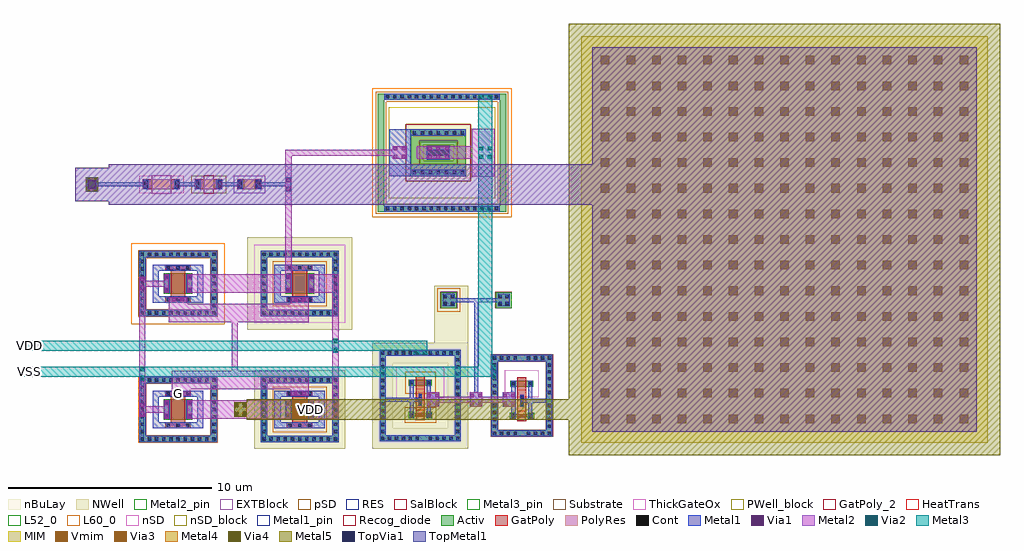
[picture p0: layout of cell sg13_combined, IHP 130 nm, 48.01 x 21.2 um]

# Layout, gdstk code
from math import pi, radians
import gdstk
lib = gdstk.Library(unit=1e-6, precision=1e-09)
def R(c, l, rs):  # rectangles x0, y0, x1, y1
    for r in rs: c.add(gdstk.rectangle(r[:2], r[2:], *l))
def A(c, l, x, y, w, h, nx, ny, dx, dy):  # array of equal rectangles
    R(c, l, [(x+i*dx, y+j*dy, x+i*dx+w, y+j*dy+h) for i in range(nx) for j in range(ny)])
def P(c, l, *ps):  # polygons
    for p in ps: c.add(gdstk.Polygon(p, *l))
Activ = (1, 0)
GatPoly = (5, 0)
GatPoly_2 = (5, 2)
Cont = (6, 0)
nSD = (7, 0)
nSD_block = (7, 21)
Metal1 = (8, 0)
Metal1_pin = (8, 2)
Metal2 = (10, 0)
Metal2_pin = (10, 2)
pSD = (14, 0)
Via1 = (19, 0)
RES = (24, 0)
SalBlock = (28, 0)
Via2 = (29, 0)
Metal3 = (30, 0)
Metal3_pin = (30, 2)
NWell = (31, 0)
nBuLay = (32, 0)
MIM = (36, 0)
Substrate = (40, 0)
ThickGateOx = (44, 0)
PWell_block = (46, 21)
Via3 = (49, 0)
Metal4 = (50, 0)
HeatTrans = (51, 0)
L52_0 = (52, 0)
L60_0 = (60, 0)
Via4 = (66, 0)
Metal5 = (67, 0)
Recog_diode = (99, 31)
EXTBlock = (111, 0)
TopVia1 = (125, 0)
TopMetal1 = (126, 0)
PolyRes = (128, 0)
Vmim = (129, 0)

rfnmos = lib.new_cell('rfnmos')
R(rfnmos, Activ, [(1.14,1.245,2.14,2.655)])
P(rfnmos, Activ, [(0.03,0.03),(0.03,3.55),(0.35,3.55),(0.35,0.35),(2.93,0.35),(2.93,3.55),(0.03,3.55),(0.03,3.87),(3.25,3.87),(3.25,0.03)])
R(rfnmos, GatPoly, [(0.71,1.32,1.01,2.58), (2.27,1.32,2.57,2.58), (1.01,1.59,2.27,2.31)])
A(rfnmos, Cont, 0.11, 0.11, 0.16, 0.16, 1, 3, 0, 0.35)
A(rfnmos, Cont, 3.01, 0.11, 0.16, 0.16, 1, 3, 0, 0.35)
A(rfnmos, Cont, 0.78, 1.39, 0.16, 0.16, 1, 3, 0, 0.48)
A(rfnmos, Cont, 2.34, 1.39, 0.16, 0.16, 1, 3, 0, 0.48)
R(rfnmos, Cont, [(0.47,0.11,0.63,0.27), (0.835,0.11,0.995,0.27), (1.195,0.11,1.355,0.27), (1.56,0.11,1.72,0.27), (1.92,0.11,2.08,0.27), (2.285,0.11,2.445,0.27), (2.645,0.11,2.805,0.27), (0.11,1.165,0.27,1.325), (3.01,1.165,3.17,1.325), (1.24,1.32,1.4,1.48), (1.88,1.32,2.04,1.48), (0.11,1.515,0.27,1.675), (3.01,1.515,3.17,1.675), (0.11,1.87,0.27,2.03), (3.01,1.87,3.17,2.03), (0.11,2.22,0.27,2.38), (3.01,2.22,3.17,2.38), (1.24,2.42,1.4,2.58), (1.88,2.42,2.04,2.58), (0.11,2.575,0.27,2.735), (3.01,2.575,3.17,2.735), (0.11,2.925,0.27,3.085), (3.01,2.925,3.17,3.085), (0.11,3.28,0.27,3.44), (3.01,3.28,3.17,3.44), (0.11,3.63,0.27,3.79), (0.47,3.63,0.63,3.79), (0.835,3.63,0.995,3.79), (1.195,3.63,1.355,3.79), (1.56,3.63,1.72,3.79), (1.92,3.63,2.08,3.79), (2.285,3.63,2.445,3.79), (2.645,3.63,2.805,3.79), (3.01,3.63,3.17,3.79)])
R(rfnmos, Metal1, [(0.03,0.03,3.25,0.35), (0.03,0.35,0.35,3.55), (2.93,0.35,3.25,3.55), (1.19,1.26,2.09,1.54), (0.76,1.34,0.96,2.56), (2.32,1.34,2.52,2.56), (1.19,2.36,2.09,2.64), (0.03,3.55,3.25,3.87)])
P(rfnmos, Metal1, [(0.71,0.71),(0.71,2.89),(1.01,2.89),(1.01,1.01),(2.27,1.01),(2.27,2.89),(0.71,2.89),(0.71,3.19),(2.57,3.19),(2.57,0.71)])
R(rfnmos, Metal1_pin, [(0.03,0.11,3.25,0.27), (0.03,0.11,3.25,0.27), (1.19,1.26,2.09,1.54), (1.19,1.26,2.09,1.54), (0.76,1.34,0.96,2.56), (0.76,1.34,0.96,2.56), (1.19,2.36,2.09,2.64), (1.19,2.36,2.09,2.64)])
R(rfnmos, Metal2, [(1.19,1.3,2.09,1.5), (1.19,2.4,2.09,2.6)])
P(rfnmos, pSD, [(0,0),(0,3.52),(0.38,3.52),(0.38,0.38),(2.9,0.38),(2.9,3.52),(0,3.52),(0,3.9),(3.28,3.9),(3.28,0)])
R(rfnmos, Via1, [(1.24,1.305,1.43,1.495), (1.85,1.305,2.04,1.495), (1.24,2.405,1.43,2.595), (1.85,2.405,2.04,2.595)])
rfnmos.add(gdstk.Label('S', (1.64,1.418), layer=63, texttype=0))
rfnmos.add(gdstk.Label('D', (1.64,2.518), layer=63, texttype=0))
rfnmos.add(gdstk.Label('G', (0.86,1.95), layer=63, texttype=0))
rfnmos.add(gdstk.Label('TIE', (1.64,0.19), layer=63, texttype=0))
rfnmos.add(gdstk.Label('rfnmos', (1.64,3.71), layer=63, texttype=0))

rfpmos = lib.new_cell('rfpmos')
R(rfpmos, Activ, [(1.42,1.525,2.42,2.935)])
P(rfpmos, Activ, [(0.31,0.31),(0.31,3.83),(0.63,3.83),(0.63,0.63),(3.21,0.63),(3.21,3.83),(0.31,3.83),(0.31,4.15),(3.53,4.15),(3.53,0.31)])
R(rfpmos, GatPoly, [(0.99,1.6,1.29,2.86), (2.55,1.6,2.85,2.86), (1.29,1.87,2.55,2.59)])
A(rfpmos, Cont, 0.39, 0.39, 0.16, 0.16, 1, 3, 0, 0.35)
A(rfpmos, Cont, 3.29, 0.39, 0.16, 0.16, 1, 3, 0, 0.35)
A(rfpmos, Cont, 1.06, 1.67, 0.16, 0.16, 1, 3, 0, 0.48)
A(rfpmos, Cont, 2.62, 1.67, 0.16, 0.16, 1, 3, 0, 0.48)
R(rfpmos, Cont, [(0.75,0.39,0.91,0.55), (1.115,0.39,1.275,0.55), (1.475,0.39,1.635,0.55), (1.84,0.39,2,0.55), (2.2,0.39,2.36,0.55), (2.565,0.39,2.725,0.55), (2.925,0.39,3.085,0.55), (0.39,1.445,0.55,1.605), (3.29,1.445,3.45,1.605), (1.52,1.6,1.68,1.76), (2.16,1.6,2.32,1.76), (0.39,1.795,0.55,1.955), (3.29,1.795,3.45,1.955), (0.39,2.15,0.55,2.31), (3.29,2.15,3.45,2.31), (0.39,2.5,0.55,2.66), (3.29,2.5,3.45,2.66), (1.52,2.7,1.68,2.86), (2.16,2.7,2.32,2.86), (0.39,2.855,0.55,3.015), (3.29,2.855,3.45,3.015), (0.39,3.205,0.55,3.365), (3.29,3.205,3.45,3.365), (0.39,3.56,0.55,3.72), (3.29,3.56,3.45,3.72), (0.39,3.91,0.55,4.07), (0.75,3.91,0.91,4.07), (1.115,3.91,1.275,4.07), (1.475,3.91,1.635,4.07), (1.84,3.91,2,4.07), (2.2,3.91,2.36,4.07), (2.565,3.91,2.725,4.07), (2.925,3.91,3.085,4.07), (3.29,3.91,3.45,4.07)])
R(rfpmos, Metal1, [(0.31,0.31,3.53,0.63), (0.31,0.63,0.63,3.83), (3.21,0.63,3.53,3.83), (1.47,1.54,2.37,1.82), (1.04,1.62,1.24,2.84), (2.6,1.62,2.8,2.84), (1.47,2.64,2.37,2.92), (0.31,3.83,3.53,4.15)])
P(rfpmos, Metal1, [(0.99,0.99),(0.99,3.17),(1.29,3.17),(1.29,1.29),(2.55,1.29),(2.55,3.17),(0.99,3.17),(0.99,3.47),(2.85,3.47),(2.85,0.99)])
R(rfpmos, Metal1_pin, [(0.31,0.39,3.53,0.55), (0.31,0.39,3.53,0.55), (1.47,1.54,2.37,1.82), (1.47,1.54,2.37,1.82), (1.04,1.62,1.24,2.84), (1.04,1.62,1.24,2.84), (1.47,2.64,2.37,2.92), (1.47,2.64,2.37,2.92)])
R(rfpmos, Metal2, [(1.47,1.58,2.37,1.78), (1.47,2.68,2.37,2.88)])
R(rfpmos, pSD, [(0.81,0.91,3.03,3.55)])
R(rfpmos, Via1, [(1.52,1.585,1.71,1.775), (2.13,1.585,2.32,1.775), (1.52,2.685,1.71,2.875), (2.13,2.685,2.32,2.875)])
R(rfpmos, NWell, [(0,0,3.84,4.46)])
rfpmos.add(gdstk.Label('S', (1.92,1.697), layer=63, texttype=0))
rfpmos.add(gdstk.Label('D', (1.92,2.798), layer=63, texttype=0))
rfpmos.add(gdstk.Label('G', (1.14,2.23), layer=63, texttype=0))
rfpmos.add(gdstk.Label('TIE', (1.92,0.47), layer=63, texttype=0))
rfpmos.add(gdstk.Label('rfpmos', (1.92,3.99), layer=63, texttype=0))

via_stack = lib.new_cell('via_stack')
R(via_stack, Metal2, [(-0.35,-0.305,0.35,0.305)])
R(via_stack, Via2, [(-0.3,-0.3,-0.11,-0.11), (0.11,-0.3,0.3,-0.11), (-0.3,0.11,-0.11,0.3), (0.11,0.11,0.3,0.3)])
R(via_stack, Metal3, [(-0.35,-0.305,0.35,0.305)])
R(via_stack, Via3, [(-0.3,-0.3,-0.11,-0.11), (0.11,-0.3,0.3,-0.11), (-0.3,0.11,-0.11,0.3), (0.11,0.11,0.3,0.3)])
R(via_stack, Metal4, [(-0.35,-0.305,0.35,0.305)])
R(via_stack, Via4, [(-0.3,-0.3,-0.11,-0.11), (0.11,-0.3,0.3,-0.11), (-0.3,0.11,-0.11,0.3), (0.11,0.11,0.3,0.3)])
R(via_stack, Metal5, [(-0.35,-0.305,0.35,0.305)])

via_stack_3 = lib.new_cell('via_stack$3')
R(via_stack_3, Metal1, [(-0.105,-0.35,0.105,0.35)])
R(via_stack_3, Metal2, [(-0.1,-0.35,0.1,0.35)])
R(via_stack_3, Via1, [(-0.095,-0.3,0.095,-0.11), (-0.095,0.11,0.095,0.3)])

rsil = lib.new_cell('rsil')
R(rsil, GatPoly, [(0,-0.35,0.5,0), (0,0.5,0.5,0.85)])
R(rsil, Cont, [(0.07,-0.28,0.43,-0.12), (0.07,0.62,0.43,0.78)])
R(rsil, Metal1, [(0.02,-0.33,0.48,-0.07), (0.02,0.57,0.48,0.83)])
R(rsil, Metal1_pin, [(0.02,-0.33,0.48,-0.07), (0.02,0.57,0.48,0.83)])
R(rsil, RES, [(0,0,0.5,0.5)])
R(rsil, L52_0, [(0,0,0.5,0.5)])
R(rsil, EXTBlock, [(-0.18,-0.53,0.68,0), (-0.18,0,0.68,0.5), (-0.18,0,0.68,1.03)])
R(rsil, PolyRes, [(0,0,0.5,0.5)])
rsil.add(gdstk.Label('rsil r=24.9', (0.25,0.25), layer=63, texttype=0))
rsil.add(gdstk.Label('rsil', (0.25,0.25), layer=52, texttype=0))

nmos = lib.new_cell('nmos')
R(nmos, Activ, [(0,0,0.3,0.3), (0.89,0,1.19,0.3), (0,0.075,1.19,0.225)])
R(nmos, GatPoly, [(0.37,-0.105,0.82,0.405)])
R(nmos, GatPoly_2, [(0.37,-0.105,0.82,0.405)])
R(nmos, Cont, [(0.07,0.07,0.23,0.23), (0.96,0.07,1.12,0.23)])
R(nmos, Metal1, [(0.07,0.02,0.23,0.28), (0.96,0.02,1.12,0.28)])
R(nmos, Metal1_pin, [(0.07,0.02,0.23,0.28), (0.96,0.02,1.12,0.28)])
R(nmos, HeatTrans, [(0.37,-0.105,0.82,0.405)])
nmos.add(gdstk.Label('nmos', (0.595,0.15), layer=63, texttype=0))
nmos.add(gdstk.Label('nmos', (0.595,0.15), layer=51, texttype=0))

nmoshv = lib.new_cell('nmosHV')
R(nmoshv, Activ, [(0,0,0.3,0.3), (0,0,1.13,0.3), (0.83,0,1.13,0.3)])
R(nmoshv, GatPoly, [(0.34,-0.18,0.79,0.48)])
R(nmoshv, GatPoly_2, [(0.34,-0.18,0.79,0.48)])
R(nmoshv, Cont, [(0.07,0.07,0.23,0.23), (0.9,0.07,1.06,0.23)])
R(nmoshv, Metal1, [(0.07,0,0.23,0.3), (0.9,0,1.06,0.3)])
R(nmoshv, Metal1_pin, [(0.07,0,0.23,0.3), (0.9,0,1.06,0.3)])
R(nmoshv, ThickGateOx, [(-0.27,-0.52,1.4,0.82)])
R(nmoshv, HeatTrans, [(0.34,-0.18,0.79,0.48)])
nmoshv.add(gdstk.Label('nmosHV', (0.565,0.15), layer=63, texttype=0))
nmoshv.add(gdstk.Label('nmosHV', (0.565,0.15), layer=51, texttype=0))

pmos = lib.new_cell('pmos')
R(pmos, Activ, [(0,0,0.3,0.3), (0.89,0,1.19,0.3), (0,0.075,1.19,0.225)])
R(pmos, GatPoly, [(0.37,-0.105,0.82,0.405), (0.37,-0.105,0.82,0.405)])
R(pmos, Cont, [(0.07,0.07,0.23,0.23), (0.96,0.07,1.12,0.23)])
R(pmos, Metal1, [(0.07,0.02,0.23,0.28), (0.07,0.02,0.23,0.28), (0.96,0.02,1.12,0.28), (0.96,0.02,1.12,0.28)])
R(pmos, pSD, [(-0.18,-0.225,1.37,0.525)])
R(pmos, NWell, [(-0.31,-0.31,1.5,0.61)])
R(pmos, Substrate, [(0.89,0,1.19,0.3)])
R(pmos, HeatTrans, [(0.37,-0.105,0.82,0.405)])
pmos.add(gdstk.Label('pmos', (0.595,0.15), layer=63, texttype=0))
pmos.add(gdstk.Label('pmos', (0.595,0.15), layer=51, texttype=0))

guard_ring = lib.new_cell('guard_ring')
R(guard_ring, Activ, [(-2,-1.2,-1.7,1.2), (1.7,-1.2,2,1.2), (-2,1.2,2,1.5)])
P(guard_ring, Activ, [(-2,-1.5),(-2,1.2),(-1.7,1.2),(-1.7,-1.2),(1.7,-1.2),(1.7,1.2),(-2,1.2),(-2,1.5),(2,1.5),(2,-1.5)])
A(guard_ring, Cont, -1.93, -1.43, 0.16, 0.16, 5, 2, 0.34, 2.7)
A(guard_ring, Cont, 0.07, -1.43, 0.16, 0.16, 6, 2, 0.34, 2.7)
A(guard_ring, Cont, -1.93, -1.09, 0.16, 0.16, 1, 3, 0, 0.34)
A(guard_ring, Cont, 1.77, -1.09, 0.16, 0.16, 1, 3, 0, 0.34)
A(guard_ring, Cont, -1.93, 0.25, 0.16, 0.16, 1, 3, 0, 0.34)
A(guard_ring, Cont, 1.77, 0.25, 0.16, 0.16, 1, 3, 0, 0.34)
R(guard_ring, Metal1, [(-2,-1.5,2,-1.2), (-2,-1.2,-1.7,1.2), (1.7,-1.2,2,1.2), (-2,1.2,2,1.5)])
R(guard_ring, pSD, [(-2.03,-1.17,-1.67,1.17), (1.67,-1.17,2.03,1.17), (-2.03,1.17,2.03,1.53)])
P(guard_ring, pSD, [(-2.03,-1.53),(-2.03,1.17),(-1.67,1.17),(-1.67,-1.17),(1.67,-1.17),(1.67,1.17),(-2.03,1.17),(-2.03,1.53),(2.03,1.53),(2.03,-1.53)])
R(guard_ring, Substrate, [(-2.03,-1.17,-1.67,1.17), (1.67,-1.17,2.03,1.17), (-2.03,1.17,2.03,1.53)])
P(guard_ring, Substrate, [(-2.03,-1.53),(-2.03,1.17),(-1.67,1.17),(-1.67,-1.17),(1.67,-1.17),(1.67,1.17),(-2.03,1.17),(-2.03,1.53),(2.03,1.53),(2.03,-1.53)])
guard_ring.add(gdstk.Label('sub!', (0,-1.35), layer=63, texttype=0))

guard_ring_2 = lib.new_cell('guard_ring$2')
R(guard_ring_2, Activ, [(-2.25,-1.7,-1.95,1.7), (1.95,-1.7,2.25,1.7), (-2.25,1.7,2.25,2)])
P(guard_ring_2, Activ, [(-2.25,-2),(-2.25,1.7),(-1.95,1.7),(-1.95,-1.7),(1.95,-1.7),(1.95,1.7),(-2.25,1.7),(-2.25,2),(2.25,2),(2.25,-2)])
A(guard_ring_2, Cont, -2.18, -1.93, 0.16, 0.16, 6, 2, 0.34, 3.7)
A(guard_ring_2, Cont, -0.02, -1.93, 0.16, 0.16, 7, 2, 0.34, 3.7)
A(guard_ring_2, Cont, -2.18, -1.59, 0.16, 0.16, 1, 4, 0, 0.34)
A(guard_ring_2, Cont, 2.02, -1.59, 0.16, 0.16, 1, 4, 0, 0.34)
A(guard_ring_2, Cont, -2.18, 0.07, 0.16, 0.16, 1, 5, 0, 0.34)
A(guard_ring_2, Cont, 2.02, 0.07, 0.16, 0.16, 1, 5, 0, 0.34)
R(guard_ring_2, Metal1, [(-2.25,-2,2.25,-1.7), (-2.25,-1.7,-1.95,1.7), (1.95,-1.7,2.25,1.7), (-2.25,1.7,2.25,2)])
R(guard_ring_2, NWell, [(-2.6,-2.35,2.6,2.35)])
R(guard_ring_2, nBuLay, [(-2.6,-1.35,-1.6,1.35), (1.6,-1.35,2.6,1.35), (-2.6,1.35,2.6,2.35)])
P(guard_ring_2, nBuLay, [(-2.6,-2.35),(-2.6,1.35),(-1.6,1.35),(-1.6,-1.35),(1.6,-1.35),(1.6,1.35),(-2.6,1.35),(-2.6,2.35),(2.6,2.35),(2.6,-2.35)])
guard_ring_2.add(gdstk.Label('well', (0,-1.85), layer=63, texttype=0))

rfpmoshv = lib.new_cell('rfpmosHV')
R(rfpmoshv, Activ, [(1.77,1.875,2.77,3.285)])
P(rfpmoshv, Activ, [(0.66,0.66),(0.66,4.18),(0.98,4.18),(0.98,0.98),(3.56,0.98),(3.56,4.18),(0.66,4.18),(0.66,4.5),(3.88,4.5),(3.88,0.66)])
R(rfpmoshv, GatPoly, [(1.34,1.95,1.64,3.21), (2.9,1.95,3.2,3.21), (1.64,2.22,2.9,2.94)])
A(rfpmoshv, Cont, 0.74, 0.74, 0.16, 0.16, 1, 3, 0, 0.35)
A(rfpmoshv, Cont, 3.64, 0.74, 0.16, 0.16, 1, 3, 0, 0.35)
A(rfpmoshv, Cont, 1.41, 2.02, 0.16, 0.16, 1, 3, 0, 0.48)
A(rfpmoshv, Cont, 2.97, 2.02, 0.16, 0.16, 1, 3, 0, 0.48)
R(rfpmoshv, Cont, [(1.1,0.74,1.26,0.9), (1.465,0.74,1.625,0.9), (1.825,0.74,1.985,0.9), (2.19,0.74,2.35,0.9), (2.55,0.74,2.71,0.9), (2.915,0.74,3.075,0.9), (3.275,0.74,3.435,0.9), (0.74,1.795,0.9,1.955), (3.64,1.795,3.8,1.955), (1.87,1.95,2.03,2.11), (2.51,1.95,2.67,2.11), (0.74,2.145,0.9,2.305), (3.64,2.145,3.8,2.305), (0.74,2.5,0.9,2.66), (3.64,2.5,3.8,2.66), (0.74,2.85,0.9,3.01), (3.64,2.85,3.8,3.01), (1.87,3.05,2.03,3.21), (2.51,3.05,2.67,3.21), (0.74,3.205,0.9,3.365), (3.64,3.205,3.8,3.365), (0.74,3.555,0.9,3.715), (3.64,3.555,3.8,3.715), (0.74,3.91,0.9,4.07), (3.64,3.91,3.8,4.07), (0.74,4.26,0.9,4.42), (1.1,4.26,1.26,4.42), (1.465,4.26,1.625,4.42), (1.825,4.26,1.985,4.42), (2.19,4.26,2.35,4.42), (2.55,4.26,2.71,4.42), (2.915,4.26,3.075,4.42), (3.275,4.26,3.435,4.42), (3.64,4.26,3.8,4.42)])
R(rfpmoshv, Metal1, [(0.66,0.66,3.88,0.98), (0.66,0.98,0.98,4.18), (3.56,0.98,3.88,4.18), (1.82,1.89,2.72,2.17), (1.39,1.97,1.59,3.19), (2.95,1.97,3.15,3.19), (1.82,2.99,2.72,3.27), (0.66,4.18,3.88,4.5)])
P(rfpmoshv, Metal1, [(1.34,1.34),(1.34,3.52),(1.64,3.52),(1.64,1.64),(2.9,1.64),(2.9,3.52),(1.34,3.52),(1.34,3.82),(3.2,3.82),(3.2,1.34)])
R(rfpmoshv, Metal1_pin, [(0.66,0.74,3.88,0.9), (0.66,0.74,3.88,0.9), (1.82,1.89,2.72,2.17), (1.82,1.89,2.72,2.17), (1.39,1.97,1.59,3.19), (1.39,1.97,1.59,3.19), (1.82,2.99,2.72,3.27), (1.82,2.99,2.72,3.27)])
R(rfpmoshv, Metal2, [(1.82,1.93,2.72,2.13), (1.82,3.03,2.72,3.23)])
R(rfpmoshv, pSD, [(1.16,1.26,3.38,3.9)])
R(rfpmoshv, Via1, [(1.87,1.935,2.06,2.125), (2.48,1.935,2.67,2.125), (1.87,3.035,2.06,3.225), (2.48,3.035,2.67,3.225)])
R(rfpmoshv, NWell, [(0,0,4.54,5.16)])
R(rfpmoshv, ThickGateOx, [(0.35,0.35,4.19,4.81)])
rfpmoshv.add(gdstk.Label('S', (2.27,2.047), layer=63, texttype=0))
rfpmoshv.add(gdstk.Label('D', (2.27,3.148), layer=63, texttype=0))
rfpmoshv.add(gdstk.Label('G', (1.49,2.58), layer=63, texttype=0))
rfpmoshv.add(gdstk.Label('TIE', (2.27,0.82), layer=63, texttype=0))
rfpmoshv.add(gdstk.Label('rfpmosHV', (2.27,4.34), layer=63, texttype=0))

rfnmoshv = lib.new_cell('rfnmosHV')
R(rfnmoshv, Activ, [(1.49,1.595,2.49,3.005)])
P(rfnmoshv, Activ, [(0.38,0.38),(0.38,3.9),(0.7,3.9),(0.7,0.7),(3.28,0.7),(3.28,3.9),(0.38,3.9),(0.38,4.22),(3.6,4.22),(3.6,0.38)])
R(rfnmoshv, GatPoly, [(1.06,1.67,1.36,2.93), (2.62,1.67,2.92,2.93), (1.36,1.94,2.62,2.66)])
A(rfnmoshv, Cont, 0.46, 0.46, 0.16, 0.16, 1, 3, 0, 0.35)
A(rfnmoshv, Cont, 3.36, 0.46, 0.16, 0.16, 1, 3, 0, 0.35)
A(rfnmoshv, Cont, 1.13, 1.74, 0.16, 0.16, 1, 3, 0, 0.48)
A(rfnmoshv, Cont, 2.69, 1.74, 0.16, 0.16, 1, 3, 0, 0.48)
R(rfnmoshv, Cont, [(0.82,0.46,0.98,0.62), (1.185,0.46,1.345,0.62), (1.545,0.46,1.705,0.62), (1.91,0.46,2.07,0.62), (2.27,0.46,2.43,0.62), (2.635,0.46,2.795,0.62), (2.995,0.46,3.155,0.62), (0.46,1.515,0.62,1.675), (3.36,1.515,3.52,1.675), (1.59,1.67,1.75,1.83), (2.23,1.67,2.39,1.83), (0.46,1.865,0.62,2.025), (3.36,1.865,3.52,2.025), (0.46,2.22,0.62,2.38), (3.36,2.22,3.52,2.38), (0.46,2.57,0.62,2.73), (3.36,2.57,3.52,2.73), (1.59,2.77,1.75,2.93), (2.23,2.77,2.39,2.93), (0.46,2.925,0.62,3.085), (3.36,2.925,3.52,3.085), (0.46,3.275,0.62,3.435), (3.36,3.275,3.52,3.435), (0.46,3.63,0.62,3.79), (3.36,3.63,3.52,3.79), (0.46,3.98,0.62,4.14), (0.82,3.98,0.98,4.14), (1.185,3.98,1.345,4.14), (1.545,3.98,1.705,4.14), (1.91,3.98,2.07,4.14), (2.27,3.98,2.43,4.14), (2.635,3.98,2.795,4.14), (2.995,3.98,3.155,4.14), (3.36,3.98,3.52,4.14)])
R(rfnmoshv, Metal1, [(0.38,0.38,3.6,0.7), (0.38,0.7,0.7,3.9), (3.28,0.7,3.6,3.9), (1.54,1.61,2.44,1.89), (1.11,1.69,1.31,2.91), (2.67,1.69,2.87,2.91), (1.54,2.71,2.44,2.99), (0.38,3.9,3.6,4.22)])
P(rfnmoshv, Metal1, [(1.06,1.06),(1.06,3.24),(1.36,3.24),(1.36,1.36),(2.62,1.36),(2.62,3.24),(1.06,3.24),(1.06,3.54),(2.92,3.54),(2.92,1.06)])
R(rfnmoshv, Metal1_pin, [(0.38,0.46,3.6,0.62), (0.38,0.46,3.6,0.62), (1.54,1.61,2.44,1.89), (1.54,1.61,2.44,1.89), (1.11,1.69,1.31,2.91), (1.11,1.69,1.31,2.91), (1.54,2.71,2.44,2.99), (1.54,2.71,2.44,2.99)])
R(rfnmoshv, Metal2, [(1.54,1.65,2.44,1.85), (1.54,2.75,2.44,2.95)])
P(rfnmoshv, pSD, [(0.35,0.35),(0.35,3.87),(0.73,3.87),(0.73,0.73),(3.25,0.73),(3.25,3.87),(0.35,3.87),(0.35,4.25),(3.63,4.25),(3.63,0.35)])
R(rfnmoshv, Via1, [(1.59,1.655,1.78,1.845), (2.2,1.655,2.39,1.845), (1.59,2.755,1.78,2.945), (2.2,2.755,2.39,2.945)])
R(rfnmoshv, ThickGateOx, [(0,0,3.98,4.6)])
rfnmoshv.add(gdstk.Label('S', (1.99,1.767), layer=63, texttype=0))
rfnmoshv.add(gdstk.Label('D', (1.99,2.867), layer=63, texttype=0))
rfnmoshv.add(gdstk.Label('G', (1.21,2.3), layer=63, texttype=0))
rfnmoshv.add(gdstk.Label('TIE', (1.99,0.54), layer=63, texttype=0))
rfnmoshv.add(gdstk.Label('rfnmosHV', (1.99,4.06), layer=63, texttype=0))

via_stack_2 = lib.new_cell('via_stack$2')
R(via_stack_2, Metal1, [(-0.35,-0.105,0.35,0.105)])
R(via_stack_2, Metal2, [(-0.35,-0.1,0.35,0.1)])
R(via_stack_2, Via1, [(-0.3,-0.095,-0.11,0.095), (0.11,-0.095,0.3,0.095)])

rhigh = lib.new_cell('rhigh')
R(rhigh, GatPoly, [(0,-0.43,0.5,0), (0,0.96,0.5,1.39)])
R(rhigh, Cont, [(0.07,-0.36,0.43,-0.2), (0.07,1.16,0.43,1.32)])
R(rhigh, nSD, [(-0.18,-0.61,0.68,0.18), (-0.18,0,0.68,0.96), (-0.18,0,0.68,0.96), (-0.18,0.78,0.68,1.57)])
R(rhigh, Metal1, [(0.02,-0.41,0.48,-0.15), (0.02,1.11,0.48,1.37)])
R(rhigh, Metal1_pin, [(0.02,-0.41,0.48,-0.15), (0.02,1.11,0.48,1.37)])
R(rhigh, pSD, [(-0.18,-0.61,0.68,0.18), (-0.18,0,0.68,0.96), (-0.18,0,0.68,0.96), (-0.18,0.78,0.68,1.57)])
R(rhigh, SalBlock, [(-0.2,0,0.7,0.96)])
R(rhigh, L52_0, [(0,0,0.5,0.96)])
R(rhigh, EXTBlock, [(-0.18,-0.61,0.68,0.18), (-0.2,0,0.7,0.96), (-0.18,0.78,0.68,1.57)])
R(rhigh, PolyRes, [(0,0,0.5,0.96)])
rhigh.add(gdstk.Label('rhigh r=3158.261', (0.25,0.48), layer=63, texttype=0))
rhigh.add(gdstk.Label('rhigh', (0.25,0.48), layer=52, texttype=0))

via_stack_6 = lib.new_cell('via_stack$6')
R(via_stack_6, Metal2, [(-0.35,-0.1,0.35,0.1)])
R(via_stack_6, Via2, [(-0.3,-0.095,-0.11,0.095), (0.11,-0.095,0.3,0.095)])
R(via_stack_6, Metal3, [(-0.35,-0.1,0.35,0.1)])

via_stack_11 = lib.new_cell('via_stack$11')
R(via_stack_11, Metal1, [(-0.35,-0.31,0.35,0.31)])
R(via_stack_11, Metal2, [(-0.35,-0.305,0.35,0.305)])
R(via_stack_11, Via1, [(-0.3,-0.3,-0.11,-0.11), (0.11,-0.3,0.3,-0.11), (-0.3,0.11,-0.11,0.3), (0.11,0.11,0.3,0.3)])
R(via_stack_11, Via2, [(-0.3,-0.3,-0.11,-0.11), (0.11,-0.3,0.3,-0.11), (-0.3,0.11,-0.11,0.3), (0.11,0.11,0.3,0.3)])
R(via_stack_11, Metal3, [(-0.35,-0.305,0.35,0.305)])
R(via_stack_11, Via3, [(-0.3,-0.3,-0.11,-0.11), (0.11,-0.3,0.3,-0.11), (-0.3,0.11,-0.11,0.3), (0.11,0.11,0.3,0.3)])
R(via_stack_11, Metal4, [(-0.35,-0.305,0.35,0.305)])
R(via_stack_11, Via4, [(-0.3,-0.3,-0.11,-0.11), (0.11,-0.3,0.3,-0.11), (-0.3,0.11,-0.11,0.3), (0.11,0.11,0.3,0.3)])
R(via_stack_11, Metal5, [(-0.35,-0.31,0.35,0.31)])
R(via_stack_11, TopVia1, [(-0.21,-0.21,0.21,0.21)])
R(via_stack_11, TopMetal1, [(-0.82,-0.82,0.82,0.82)])

pmoshv = lib.new_cell('pmosHV')
R(pmoshv, Activ, [(0,0,0.3,0.3), (0,0,1.13,0.3), (0.83,0,1.13,0.3)])
R(pmoshv, GatPoly, [(0.34,-0.18,0.79,0.48)])
R(pmoshv, GatPoly_2, [(0.34,-0.18,0.79,0.48)])
R(pmoshv, Cont, [(0.07,0.07,0.23,0.23), (0.9,0.07,1.06,0.23)])
R(pmoshv, Metal1, [(0.07,0,0.23,0.3), (0.9,0,1.06,0.3)])
R(pmoshv, Metal1_pin, [(0.07,0,0.23,0.3), (0.9,0,1.06,0.3)])
R(pmoshv, pSD, [(-0.18,-0.4,1.31,0.7)])
R(pmoshv, NWell, [(-0.62,-0.62,1.75,0.92)])
R(pmoshv, Substrate, [(0.83,0,1.13,0.3)])
R(pmoshv, ThickGateOx, [(-0.62,-0.62,1.75,0.92)])
R(pmoshv, HeatTrans, [(0.34,-0.18,0.79,0.48)])
pmoshv.add(gdstk.Label('pmosHV', (0.565,0.15), layer=63, texttype=0))
pmoshv.add(gdstk.Label('pmos', (0.565,0.15), layer=51, texttype=0))

via_stack_5 = lib.new_cell('via_stack$5')
R(via_stack_5, GatPoly, [(-0.15,-0.32,0.15,0.32)])
R(via_stack_5, Cont, [(-0.08,-0.25,0.08,-0.09), (-0.08,0.09,0.08,0.25)])
R(via_stack_5, Metal1, [(-0.08,-0.3,0.08,0.3)])

via_stack_7 = lib.new_cell('via_stack$7')
R(via_stack_7, Metal1, [(-0.35,-0.31,0.35,0.31)])
R(via_stack_7, Metal2, [(-0.35,-0.305,0.35,0.305)])
R(via_stack_7, Via1, [(-0.3,-0.3,-0.11,-0.11), (0.11,-0.3,0.3,-0.11), (-0.3,0.11,-0.11,0.3), (0.11,0.11,0.3,0.3)])

via_stack_8 = lib.new_cell('via_stack$8')
R(via_stack_8, Metal1, [(-0.35,-0.105,0.35,0.105)])
R(via_stack_8, Metal2, [(-0.35,-0.1,0.35,0.1)])
R(via_stack_8, Via1, [(-0.3,-0.095,-0.11,0.095), (0.11,-0.095,0.3,0.095)])
R(via_stack_8, Via2, [(-0.3,-0.095,-0.11,0.095), (0.11,-0.095,0.3,0.095)])
R(via_stack_8, Metal3, [(-0.35,-0.1,0.35,0.1)])

rppd = lib.new_cell('rppd')
R(rppd, GatPoly, [(0,-0.43,0.5,-0.2), (0,-0.2,0.5,0), (0,0.5,0.5,0.7), (0,0.7,0.5,0.93)])
R(rppd, Cont, [(0.07,-0.36,0.43,-0.2), (0.07,0.7,0.43,0.86)])
R(rppd, Metal1, [(0.02,-0.43,0.48,-0.13), (0.02,0.63,0.48,0.93)])
R(rppd, Metal1_pin, [(0.02,-0.43,0.48,-0.13), (0.02,0.63,0.48,0.93)])
R(rppd, pSD, [(-0.18,-0.61,0.68,0), (-0.18,0,0.68,0.5), (-0.18,0.5,0.68,1.11)])
R(rppd, SalBlock, [(-0.2,0,0.7,0.5)])
R(rppd, L52_0, [(0,0,0.5,0.5)])
R(rppd, EXTBlock, [(-0.18,-0.61,0.68,0), (-0.2,0,0.7,0.5), (-0.18,0.5,0.68,1.11)])
R(rppd, PolyRes, [(0,0,0.5,0.5)])
rppd.add(gdstk.Label('rppd r=396.917', (0.25,0.25), layer=63, texttype=0))
rppd.add(gdstk.Label('rppd', (0.25,0.25), layer=52, texttype=0))

dantenna = lib.new_cell('dantenna')
R(dantenna, Activ, [(0,0,0.78,0.78)])
R(dantenna, Cont, [(0.14,0.14,0.3,0.3), (0.48,0.14,0.64,0.3), (0.14,0.48,0.3,0.64), (0.48,0.48,0.64,0.64)])
R(dantenna, Metal1, [(0.14,0.14,0.64,0.64), (0.14,0.14,0.64,0.64)])
R(dantenna, Recog_diode, [(-0.02,-0.02,0.8,0.8)])
dantenna.add(gdstk.Label('dant', (0.39,0.39), layer=63, texttype=0))

dpantenna = lib.new_cell('dpantenna')
R(dpantenna, Activ, [(0,0,0.78,0.78)])
R(dpantenna, Cont, [(0.14,0.14,0.3,0.3), (0.48,0.14,0.64,0.3), (0.14,0.48,0.3,0.64), (0.48,0.48,0.64,0.64)])
R(dpantenna, Metal1, [(0.14,0.14,0.64,0.64), (0.14,0.14,0.64,0.64)])
R(dpantenna, pSD, [(-0.18,-0.18,0.96,0.96)])
R(dpantenna, NWell, [(-0.31,-0.31,1.09,1.09)])
R(dpantenna, Recog_diode, [(-0.02,-0.02,0.8,0.8)])
dpantenna.add(gdstk.Label('dpant', (0.39,0.39), layer=63, texttype=0))

schottky = lib.new_cell('schottky')
R(schottky, Activ, [(-2.3,-2.38,3.5,-2.08), (-2.3,-2.08,-2,3.62), (3.2,-2.08,3.5,3.62), (-0.55,-0.4,1.75,2.3), (-2.3,3.62,3.5,3.92)])
A(schottky, Cont, -2.23, -1.99, 0.16, 0.16, 1, 3, 0, 0.355)
A(schottky, Cont, 3.27, -1.99, 0.16, 0.16, 1, 3, 0, 0.355)
A(schottky, Cont, -0.45, 0.08, 0.16, 0.16, 1, 3, 0, 0.395)
A(schottky, Cont, 1.49, 0.08, 0.16, 0.16, 1, 3, 0, 0.395)
A(schottky, Cont, -0.45, 1.26, 0.16, 0.16, 1, 3, 0, 0.395)
A(schottky, Cont, 1.49, 1.26, 0.16, 0.16, 1, 3, 0, 0.395)
R(schottky, Cont, [(-2.23,-0.92,-2.07,-0.76), (3.27,-0.92,3.43,-0.76), (-2.23,-0.565,-2.07,-0.405), (3.27,-0.565,3.43,-0.405), (-0.45,-0.31,-0.29,-0.15), (1.49,-0.31,1.65,-0.15), (-2.23,-0.205,-2.07,-0.045), (3.27,-0.205,3.43,-0.045), (-2.23,0.15,-2.07,0.31), (3.27,0.15,3.43,0.31), (0.45,0.45,0.75,1.45), (-2.23,0.51,-2.07,0.67), (3.27,0.51,3.43,0.67), (-2.23,0.865,-2.07,1.025), (3.27,0.865,3.43,1.025), (-2.23,1.225,-2.07,1.385), (3.27,1.225,3.43,1.385), (-2.23,1.58,-2.07,1.74), (3.27,1.58,3.43,1.74), (-2.23,1.94,-2.07,2.1), (3.27,1.94,3.43,2.1), (-2.23,2.295,-2.07,2.455), (3.27,2.295,3.43,2.455), (-2.23,2.655,-2.07,2.815), (3.27,2.655,3.43,2.815), (-2.23,3.01,-2.07,3.17), (3.27,3.01,3.43,3.17), (-2.23,3.37,-2.07,3.53), (3.27,3.37,3.43,3.53)])
R(schottky, nSD_block, [(0.05,0.05,1.15,1.85)])
R(schottky, Metal1, [(-2.3,-2.08,-2,3.62), (3.2,-2.08,3.5,3.62), (-0.55,-0.4,-0.51,2.3), (-0.51,-0.4,-0.23,2.3), (1.43,-0.4,1.71,2.3), (1.71,-0.4,1.75,2.3), (0.25,0.38,0.54,1.52), (0.25,0.38,0.54,1.52), (0.25,0.38,0.54,1.52), (0.4,0.38,0.8,1.52), (0.66,0.38,0.95,1.52), (0.66,0.38,0.95,1.52), (0.66,0.38,0.95,1.52), (0.29,0.42,0.5,1.48), (0.7,0.42,0.91,1.48), (-0.55,2.3,1.75,3.355)])
R(schottky, Metal1_pin, [(-2.3,-2.08,-2,3.62), (3.2,-2.08,3.5,3.62), (-0.55,2.3,1.75,3.355)])
R(schottky, Metal2, [(-0.58,-1.815,1.78,-0.695), (0.295,-0.695,0.905,2.005)])
R(schottky, Metal2_pin, [(-0.58,-1.815,1.78,-0.695)])
R(schottky, pSD, [(-2.4,-2.48,3.6,-1.98), (-2.4,-1.98,-1.9,3.52), (3.1,-1.98,3.6,3.52), (-2.4,3.52,3.6,4.02)])
A(schottky, Via1, 0.3, 0.43, 0.19, 0.19, 1, 3, 0, 0.425)
A(schottky, Via1, 0.71, 0.43, 0.19, 0.19, 1, 3, 0, 0.425)
R(schottky, SalBlock, [(0,0,1.2,1.9)])
R(schottky, NWell, [(-0.8,-0.65,2,0.2), (-0.8,0.2,0.2,1.7), (1,0.2,2,1.7), (-0.8,1.7,2,2.55)])
R(schottky, nBuLay, [(-0.55,-0.42,1.75,2.32)])
R(schottky, ThickGateOx, [(-2.57,-2.65,3.77,4.19)])
R(schottky, PWell_block, [(-1.63,-1.84,2.83,-0.65), (-1.63,-0.65,-0.8,2.55), (2,-0.65,2.83,2.55), (0.2,0.2,1,1.7), (-1.63,2.55,2.83,3.38)])
R(schottky, Recog_diode, [(-0.8,-0.65,2,2.55)])
schottky.add(gdstk.Label('schottky', (0.018,-0.59), layer=63, texttype=0))

via_stack_10 = lib.new_cell('via_stack$10')
R(via_stack_10, Metal2, [(-0.35,-0.305,0.35,0.305)])
R(via_stack_10, Via2, [(-0.3,-0.3,-0.11,-0.11), (0.11,-0.3,0.3,-0.11), (-0.3,0.11,-0.11,0.3), (0.11,0.11,0.3,0.3)])
R(via_stack_10, Metal3, [(-0.35,-0.305,0.35,0.305)])

cmim = lib.new_cell('cmim')
R(cmim, MIM, [(0,0,20,20)])
R(cmim, Metal5, [(-0.6,-0.6,20.6,20.6)])
R(cmim, TopMetal1, [(0.55,0.55,19.45,19.45)])
A(cmim, Vmim, 0.97, 0.97, 0.42, 0.42, 15, 15, 1.26, 1.26)
cmim.add(gdstk.Label('c=604f', (10,10), layer=63, texttype=0))
cmim.add(gdstk.Label('cmim', (10,10), layer=63, texttype=0))

sg13_combined = lib.new_cell('sg13_combined')
R(sg13_combined, Metal1, [(15.42,7.32,16.02,7.92), (18.12,7.32,18.72,7.92)])
R(sg13_combined, Metal2, [(17.86,3.74,18.08,4.44), (13.975,4.91,14.675,5.13), (-1.93,12.96,-1.71,13.66), (17.17,17.51,17.87,17.73)])
R(sg13_combined, Metal2_pin, [(8.875,2.175,9.005,2.305), (2.345,2.955,2.475,3.085)])
R(sg13_combined, Metal3_pin, [(-5.17,3.85,-4.67,4.35), (-5.17,5.13,-4.67,5.63)])
R(sg13_combined, NWell, [(15.02,5.52,16.67,8.32)])
R(sg13_combined, L60_0, [(0.46,0.6,4.36,3.88), (0.11,6.44,4.71,10.42), (11.97,11.7,18.81,18.04)])
sg13_combined.add(gdstk.FlexPath([(5.34,13.31),(4.59,13.31)], 0.2, ends="flush", simple_path=True, layer=8, datatype=0))  # Metal1
sg13_combined.add(gdstk.FlexPath([(2.48,13.31),(3.23,13.31)], 0.2, ends="flush", simple_path=True, layer=8, datatype=0))  # Metal1
sg13_combined.add(gdstk.FlexPath([(6.5,13.31),(7.735,13.31)], 0.2, ends="flush", simple_path=True, layer=8, datatype=0))  # Metal1
sg13_combined.add(gdstk.FlexPath([(15.97,7.62),(18.17,7.62)], 0.2, ends="flush", simple_path=True, layer=8, datatype=0))  # Metal1
sg13_combined.add(gdstk.FlexPath([(-1.715,13.31),(0.7,13.31)], 0.2, ends="flush", simple_path=True, layer=8, datatype=0))  # Metal1
sg13_combined.add(gdstk.FlexPath([(19.735,3.655),(19.735,1.79)], 0.2, ends="flush", simple_path=True, layer=8, datatype=0))  # Metal1
sg13_combined.add(gdstk.FlexPath([(18.905,3.655),(18.905,1.79)], 0.2, ends="flush", simple_path=True, layer=8, datatype=0))  # Metal1
sg13_combined.add(gdstk.FlexPath([(13.91,3.705),(13.91,1.84)], 0.2, ends="flush", simple_path=True, layer=8, datatype=0))  # Metal1
sg13_combined.add(gdstk.FlexPath([(14.74,3.705),(14.74,1.84)], 0.2, ends="flush", simple_path=True, layer=8, datatype=0))  # Metal1
sg13_combined.add(gdstk.FlexPath([(19.4,2.675),(19.635,2.675)], 0.2, ends="flush", simple_path=True, layer=8, datatype=0))  # Metal1
sg13_combined.add(gdstk.FlexPath([(14.245,2.725),(14.01,2.725)], 0.2, ends="flush", simple_path=True, layer=8, datatype=0))  # Metal1
sg13_combined.add(gdstk.FlexPath([(13.81,2.725),(12.62,2.725)], 0.2, ends="flush", simple_path=True, layer=8, datatype=0))  # Metal1
sg13_combined.add(gdstk.FlexPath([(19.835,2.675),(20.52,2.675)], 0.2, ends="flush", simple_path=True, layer=8, datatype=0))  # Metal1
sg13_combined.add(gdstk.FlexPath([(17.07,3.075),(17.07,7.62)], 0.2, ends="flush", simple_path=True, layer=8, datatype=0))  # Metal1
sg13_combined.add(gdstk.FlexPath([(-1,13.31),(1.15,13.31)], 2, ends="flush", simple_path=True, layer=126, datatype=0))  # TopMetal1
sg13_combined.add(gdstk.FlexPath([(1.15,13.31),(22.785,13.31)], 2, ends="flush", simple_path=True, layer=126, datatype=0))  # TopMetal1
sg13_combined.add(gdstk.FlexPath([(5.775,2.24),(21.635,2.24)], 1, ends="flush", simple_path=True, layer=67, datatype=0))  # Metal5
sg13_combined.add(gdstk.FlexPath([(0.65,4.35),(0.65,1.89)], 0.3, ends="flush", simple_path=True, layer=10, datatype=0))  # Metal2
sg13_combined.add(gdstk.FlexPath([(1.76,2.24),(0.55,2.24)], 0.3, ends="flush", simple_path=True, layer=10, datatype=0))  # Metal2
sg13_combined.add(gdstk.FlexPath([(0.65,4.35),(0.65,8.78)], 0.3, ends="flush", simple_path=True, layer=10, datatype=0))  # Metal2
sg13_combined.add(gdstk.FlexPath([(1.76,8.43),(0.55,8.43)], 0.3, ends="flush", simple_path=True, layer=10, datatype=0))  # Metal2
sg13_combined.add(gdstk.FlexPath([(10.15,5.63),(10.15,8.88)], 0.3, ends="flush", simple_path=True, layer=10, datatype=0))  # Metal2
sg13_combined.add(gdstk.FlexPath([(5.2,6.53),(5.2,4.14)], 0.3, ends="flush", simple_path=True, layer=10, datatype=0))  # Metal2
sg13_combined.add(gdstk.FlexPath([(2.86,8.43),(7.74,8.43)], 0.9, ends="flush", simple_path=True, layer=10, datatype=0))  # Metal2
sg13_combined.add(gdstk.FlexPath([(8.39,7.75),(8.39,6.98),(2.41,6.98),(2.41,7.75)], 0.9, ends="flush", simple_path=True, layer=10, datatype=0))  # Metal2
sg13_combined.add(gdstk.FlexPath([(2.86,2.24),(7.74,2.24)], 0.9, ends="flush", simple_path=True, layer=10, datatype=0))  # Metal2
sg13_combined.add(gdstk.FlexPath([(12.96,14.87),(7.84,14.87),(7.84,13.66)], 0.3, ends="flush", simple_path=True, layer=10, datatype=0))  # Metal2
sg13_combined.add(gdstk.FlexPath([(7.84,8.88),(7.84,13.66)], 0.3, ends="flush", simple_path=True, layer=10, datatype=0))  # Metal2
sg13_combined.add(gdstk.FlexPath([(10.15,1.89),(10.15,5.63)], 0.3, ends="flush", simple_path=True, layer=10, datatype=0))  # Metal2
sg13_combined.add(gdstk.FlexPath([(15.255,2.725),(18.39,2.725)], 0.3, ends="flush", simple_path=True, layer=10, datatype=0))  # Metal2
sg13_combined.add(gdstk.FlexPath([(9.04,8.43),(9.88,8.43),(10.25,8.43)], 0.9, ends="flush", simple_path=True, layer=10, datatype=0))  # Metal2
sg13_combined.add(gdstk.FlexPath([(9.04,2.24),(9.88,2.24),(10.25,2.24)], 0.9, ends="flush", simple_path=True, layer=10, datatype=0))  # Metal2
sg13_combined.add(gdstk.FlexPath([(2.55,2.92),(2.55,3.69),(8.39,3.69),(8.39,2.92)], 0.9, ends="flush", simple_path=True, layer=10, datatype=0))  # Metal2
sg13_combined.add(gdstk.FlexPath([(17.52,17.725),(17.52,3.85)], 0.7, ends="flush", simple_path=True, layer=30, datatype=0))  # Metal3
sg13_combined.add(gdstk.FlexPath([(14.325,5.12),(14.325,5.13)], 0.7, ends="flush", simple_path=True, layer=30, datatype=0))  # Metal3
sg13_combined.add(gdstk.FlexPath([(-5.17,5.38),(14.675,5.38)], 0.5, ends="flush", simple_path=True, layer=30, datatype=0))  # Metal3
sg13_combined.add(gdstk.FlexPath([(-5.17,4.1),(18.07,4.1)], 0.5, ends="flush", simple_path=True, layer=30, datatype=0))  # Metal3
sg13_combined.add(gdstk.FlexPath([(14.325,2.225),(14.325,3.225)], 0.45, ends="flush", simple_path=True, layer=5, datatype=0))  # GatPoly
sg13_combined.add(gdstk.FlexPath([(19.32,2.175),(19.32,3.175)], 0.45, ends="flush", simple_path=True, layer=5, datatype=0))  # GatPoly
sg13_combined.add(gdstk.Reference(rfnmos, (0.46,3.88), rotation=3*pi/2))
sg13_combined.add(gdstk.Reference(rfpmos, (6.16,4.16), rotation=3*pi/2))
sg13_combined.add(gdstk.Reference(via_stack, (5.47,2.24), rotation=3*pi/2))
sg13_combined.add(gdstk.Reference(via_stack_3, (2.41,3.02), rotation=3*pi/2))
sg13_combined.add(gdstk.Reference(via_stack_3, (8.39,3.02), rotation=3*pi/2))
sg13_combined.add(gdstk.Reference(rsil, (5.67,13.56), rotation=3*pi/2))
sg13_combined.add(gdstk.Reference(nmos, (18.725,1.77)))
sg13_combined.add(gdstk.Reference(nmoshv, (18.755,3.355)))
sg13_combined.add(gdstk.Reference(pmos, (13.73,1.82)))
sg13_combined.add(gdstk.Reference(guard_ring, (19.32,2.92), rotation=pi/2))
sg13_combined.add(gdstk.Reference(guard_ring_2, (14.32,2.92), rotation=pi/2))
sg13_combined.add(gdstk.Reference(rfpmoshv, (10.97,6.16), rotation=pi/2))
sg13_combined.add(gdstk.Reference(rfnmoshv, (0.11,10.42), rotation=3*pi/2))
sg13_combined.add(gdstk.Reference(via_stack_3, (8.39,7.65), rotation=pi/2))
sg13_combined.add(gdstk.Reference(via_stack_3, (2.41,7.65), rotation=pi/2))
sg13_combined.add(gdstk.Reference(via_stack_2, (10.15,8.43), rotation=3*pi/2))
sg13_combined.add(gdstk.Reference(rhigh, (1.11,13.56), rotation=3*pi/2))
sg13_combined.add(gdstk.Reference(via_stack_6, (0.65,4), rotation=pi/2))
sg13_combined.add(gdstk.Reference(via_stack_11, (-1.82,13.31), rotation=3*pi/2))
sg13_combined.add(gdstk.Reference(pmoshv, (13.76,3.405)))
sg13_combined.add(gdstk.Reference(via_stack_5, (19.32,2.675)))
sg13_combined.add(gdstk.Reference(via_stack_5, (14.325,2.725)))
sg13_combined.add(gdstk.Reference(via_stack_7, (14.95,2.725), rotation=3*pi/2))
sg13_combined.add(gdstk.Reference(via_stack_7, (18.695,2.725), rotation=3*pi/2))
sg13_combined.add(gdstk.Reference(via_stack_7, (17.07,2.725), rotation=3*pi/2))
sg13_combined.add(gdstk.Reference(via_stack_2, (10.15,2.24), rotation=3*pi/2))
sg13_combined.add(gdstk.Reference(via_stack_6, (10.15,5.38), rotation=3*pi/2))
sg13_combined.add(gdstk.Reference(via_stack_8, (14.325,5.02)))
sg13_combined.add(gdstk.Reference(via_stack_8, (17.97,4.09), rotation=pi/2))
sg13_combined.add(gdstk.Reference(via_stack_2, (7.84,13.31), rotation=pi/2))
sg13_combined.add(gdstk.Reference(rppd, (3.66,13.56), rotation=3*pi/2))
sg13_combined.add(gdstk.Reference(dantenna, (18.81,7.23), rotation=pi/2))
sg13_combined.add(gdstk.Reference(dpantenna, (16.11,7.23), rotation=pi/2))
sg13_combined.add(gdstk.Reference(schottky, (16.16,14.27), rotation=pi/2))
sg13_combined.add(gdstk.Reference(via_stack_7, (13.31,14.87)))
sg13_combined.add(gdstk.Reference(via_stack_10, (17.525,14.87), rotation=3*pi/2))
sg13_combined.add(gdstk.Reference(cmim, (22.235,20.6), rotation=3*pi/2))
sg13_combined.add(gdstk.Reference(via_stack_2, (0.65,2.24), rotation=pi/2))
sg13_combined.add(gdstk.Reference(via_stack_2, (0.65,8.43), rotation=pi/2))
sg13_combined.add(gdstk.Reference(via_stack_8, (17.52,17.62), rotation=pi))
sg13_combined.add(gdstk.Label('G', (2.41,3.02), layer=10, texttype=25))
sg13_combined.add(gdstk.Label('VDD', (8.94,2.24), layer=10, texttype=25))
sg13_combined.add(gdstk.Label('VDD', (-4.92,5.38), layer=30, texttype=25))
sg13_combined.add(gdstk.Label('VSS', (-4.92,4.1), layer=30, texttype=25))

lib.write_gds('sg13_combined.gds')
